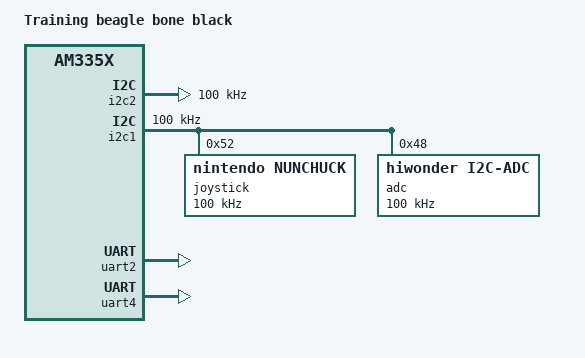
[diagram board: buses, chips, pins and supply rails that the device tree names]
// SPDX-License-Identifier: GPL-2.0
#include "am335x-boneblack.dts"
/ {
    model = "Training beagle bone black";
};

&led2 {
    default-state= "on";
};

&led3 {
    default-state= "on";
};

&led5 {
    default-state= "on";
};

&i2c2{
    status="ok";
    clock-frequency=<100000>;
};

&am33xx_pinmux {
    i2c1_pins: i2c1-pins{
        pinctrl-single,pins = <
            AM33XX_PADCONF(AM335X_PIN_SPI0_D1, PIN_INPUT_PULLUP, MUX_MODE2)	/* spi0_d1.i2c1_sda */
            AM33XX_PADCONF(AM335X_PIN_SPI0_CS0, PIN_INPUT_PULLUP, MUX_MODE2)	/* spi0_cs0.i2c1_scl */
        >;
    };
    uart2_pins: uart2_pins{
        pinctrl-single,pins = <
            AM33XX_PADCONF(AM335X_PIN_SPI0_SCLK, PIN_INPUT_PULLUP, MUX_MODE1)
            AM33XX_PADCONF(AM335X_PIN_SPI0_D0, PIN_OUTPUT, MUX_MODE1)
        >;
    };


    uart4_pins: uart4_pins{
        pinctrl-single,pins = <
            AM33XX_PADCONF(AM335X_PIN_GPMC_WAIT0, PIN_INPUT_PULLUP, MUX_MODE6)
            AM33XX_PADCONF(AM335X_PIN_GPMC_WPN, PIN_OUTPUT, MUX_MODE6)
        >;
    };


};
&i2c1{
    status="ok";
    clock-frequency=<100000>;
    pinctrl-names="default";
    pinctrl-0 = <&i2c1_pins>;
    joystick@52{
        compatible="nintendo,nunchuck";
        reg=<0x52>;
        clock-frequency=<100000>;
    };
    adc@48{
        compatible="hiwonder,i2c-adc";
        reg=<0x48>;
        clock-frequency=<100000>;
    };
};


&uart2{
    compatible = "bootlin,serial";
    status = "okay";
    pinctrl-names = "default";
    pinctrl-0 = <&uart2_pins>;
};

&uart4{
    compatible = "bootlin,serial";
    status = "okay";
    pinctrl-names = "default";
    pinctrl-0 = <&uart4_pins>;
};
